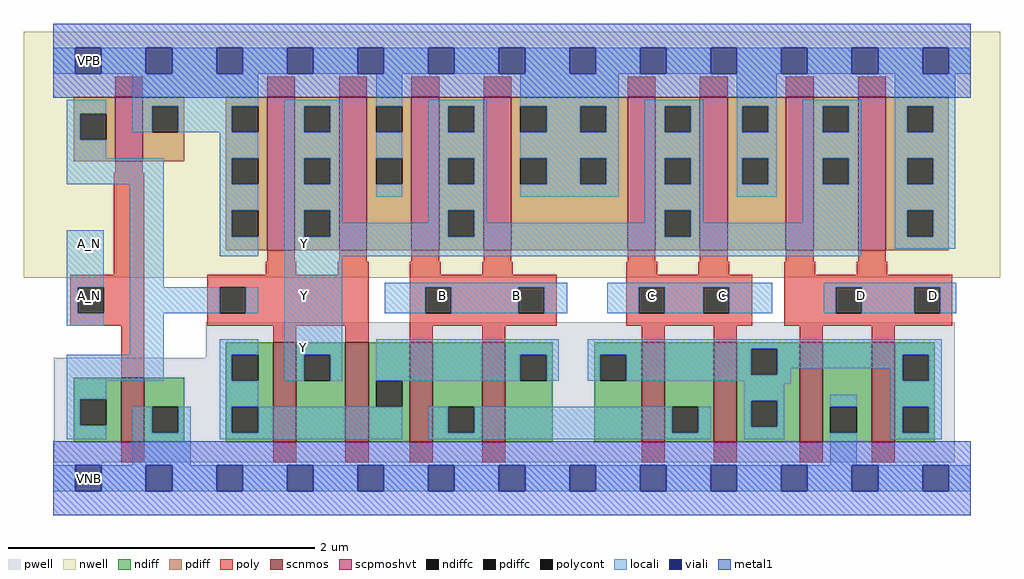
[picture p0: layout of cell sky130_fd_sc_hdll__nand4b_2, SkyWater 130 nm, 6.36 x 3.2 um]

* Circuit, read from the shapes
.subckt sky130_fd_sc_hdll__nand4b_2 A_N B C D VGND VNB VPB VPWR Y
XM1 VGND A_N n1 VNB sky130_fd_pr__nfet_01v8 w=0.42 l=0.15
XM2 Y n1 n2 VNB sky130_fd_pr__nfet_01v8 w=0.65 l=0.15 m=2
XM3 n3 B n2 VNB sky130_fd_pr__nfet_01v8 w=0.65 l=0.15 m=2
XM4 n3 C n4 VNB sky130_fd_pr__nfet_01v8 w=0.65 l=0.15 m=2
XM5 VGND D n4 VNB sky130_fd_pr__nfet_01v8 w=0.65 l=0.15 m=2
XM6 VPWR A_N n1 VPB sky130_fd_pr__pfet_01v8_hvt w=0.42 l=0.18
XM7 Y n1 VPWR VPB sky130_fd_pr__pfet_01v8_hvt w=1 l=0.18 m=2
XM8 Y B VPWR VPB sky130_fd_pr__pfet_01v8_hvt w=1 l=0.18 m=2
XM9 Y C VPWR VPB sky130_fd_pr__pfet_01v8_hvt w=1 l=0.18 m=2
XM10 Y D VPWR VPB sky130_fd_pr__pfet_01v8_hvt w=1 l=0.18 m=2
.ends

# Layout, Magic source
magic
tech sky130A
magscale 1 2
<< nwell >>
rect -38 261 1234 582
<< pwell >>
rect 199 157 1175 203
rect 1 21 1175 157
rect 30 -17 64 21
<< scnmos >>
rect 89 47 119 131
rect 287 47 317 177
rect 381 47 411 177
rect 465 47 495 177
rect 559 47 589 177
rect 767 47 797 177
rect 861 47 891 177
rect 973 47 1003 177
rect 1067 47 1097 177
<< scpmoshvt >>
rect 81 413 117 497
rect 279 297 315 497
rect 373 297 409 497
rect 467 297 503 497
rect 561 297 597 497
rect 749 297 785 497
rect 843 297 879 497
rect 955 297 991 497
rect 1049 297 1085 497
<< ndiff >>
rect 225 161 287 177
rect 27 103 89 131
rect 27 69 35 103
rect 69 69 89 103
rect 27 47 89 69
rect 119 93 171 131
rect 119 59 129 93
rect 163 59 171 93
rect 119 47 171 59
rect 225 127 233 161
rect 267 127 287 161
rect 225 93 287 127
rect 225 59 233 93
rect 267 59 287 93
rect 225 47 287 59
rect 317 161 381 177
rect 317 127 327 161
rect 361 127 381 161
rect 317 47 381 127
rect 411 127 465 177
rect 411 93 421 127
rect 455 93 465 127
rect 411 47 465 93
rect 495 93 559 177
rect 495 59 515 93
rect 549 59 559 93
rect 495 47 559 59
rect 589 161 651 177
rect 589 127 609 161
rect 643 127 651 161
rect 589 47 651 127
rect 705 161 767 177
rect 705 127 713 161
rect 747 127 767 161
rect 705 47 767 127
rect 797 93 861 177
rect 797 59 807 93
rect 841 59 861 93
rect 797 47 861 59
rect 891 169 973 177
rect 891 135 910 169
rect 944 135 973 169
rect 891 101 973 135
rect 891 67 910 101
rect 944 67 973 101
rect 891 47 973 67
rect 1003 93 1067 177
rect 1003 59 1013 93
rect 1047 59 1067 93
rect 1003 47 1067 59
rect 1097 161 1149 177
rect 1097 127 1107 161
rect 1141 127 1149 161
rect 1097 93 1149 127
rect 1097 59 1107 93
rect 1141 59 1149 93
rect 1097 47 1149 59
<< pdiff >>
rect 27 475 81 497
rect 27 441 35 475
rect 69 441 81 475
rect 27 413 81 441
rect 117 485 171 497
rect 117 451 129 485
rect 163 451 171 485
rect 117 413 171 451
rect 225 485 279 497
rect 225 451 233 485
rect 267 451 279 485
rect 225 417 279 451
rect 225 383 233 417
rect 267 383 279 417
rect 225 349 279 383
rect 225 315 233 349
rect 267 315 279 349
rect 225 297 279 315
rect 315 485 373 497
rect 315 451 327 485
rect 361 451 373 485
rect 315 417 373 451
rect 315 383 327 417
rect 361 383 373 417
rect 315 349 373 383
rect 315 315 327 349
rect 361 315 373 349
rect 315 297 373 315
rect 409 485 467 497
rect 409 451 421 485
rect 455 451 467 485
rect 409 417 467 451
rect 409 383 421 417
rect 455 383 467 417
rect 409 297 467 383
rect 503 485 561 497
rect 503 451 515 485
rect 549 451 561 485
rect 503 417 561 451
rect 503 383 515 417
rect 549 383 561 417
rect 503 349 561 383
rect 503 315 515 349
rect 549 315 561 349
rect 503 297 561 315
rect 597 485 749 497
rect 597 451 609 485
rect 643 451 687 485
rect 721 451 749 485
rect 597 417 749 451
rect 597 383 609 417
rect 643 383 687 417
rect 721 383 749 417
rect 597 297 749 383
rect 785 485 843 497
rect 785 451 797 485
rect 831 451 843 485
rect 785 417 843 451
rect 785 383 797 417
rect 831 383 843 417
rect 785 349 843 383
rect 785 315 797 349
rect 831 315 843 349
rect 785 297 843 315
rect 879 485 955 497
rect 879 451 898 485
rect 932 451 955 485
rect 879 417 955 451
rect 879 383 898 417
rect 932 383 955 417
rect 879 297 955 383
rect 991 485 1049 497
rect 991 451 1003 485
rect 1037 451 1049 485
rect 991 417 1049 451
rect 991 383 1003 417
rect 1037 383 1049 417
rect 991 297 1049 383
rect 1085 485 1167 497
rect 1085 451 1113 485
rect 1147 451 1167 485
rect 1085 417 1167 451
rect 1085 383 1113 417
rect 1147 383 1167 417
rect 1085 349 1167 383
rect 1085 315 1113 349
rect 1147 315 1167 349
rect 1085 297 1167 315
<< ndiffc >>
rect 35 69 69 103
rect 129 59 163 93
rect 233 127 267 161
rect 233 59 267 93
rect 327 127 361 161
rect 421 93 455 127
rect 515 59 549 93
rect 609 127 643 161
rect 713 127 747 161
rect 807 59 841 93
rect 910 135 944 169
rect 910 67 944 101
rect 1013 59 1047 93
rect 1107 127 1141 161
rect 1107 59 1141 93
<< pdiffc >>
rect 35 441 69 475
rect 129 451 163 485
rect 233 451 267 485
rect 233 383 267 417
rect 233 315 267 349
rect 327 451 361 485
rect 327 383 361 417
rect 327 315 361 349
rect 421 451 455 485
rect 421 383 455 417
rect 515 451 549 485
rect 515 383 549 417
rect 515 315 549 349
rect 609 451 643 485
rect 687 451 721 485
rect 609 383 643 417
rect 687 383 721 417
rect 797 451 831 485
rect 797 383 831 417
rect 797 315 831 349
rect 898 451 932 485
rect 898 383 932 417
rect 1003 451 1037 485
rect 1003 383 1037 417
rect 1113 451 1147 485
rect 1113 383 1147 417
rect 1113 315 1147 349
<< poly >>
rect 81 497 117 523
rect 279 497 315 523
rect 373 497 409 523
rect 467 497 503 523
rect 561 497 597 523
rect 749 497 785 523
rect 843 497 879 523
rect 955 497 991 523
rect 1049 497 1085 523
rect 81 398 117 413
rect 79 265 119 398
rect 279 282 315 297
rect 373 282 409 297
rect 467 282 503 297
rect 561 282 597 297
rect 749 282 785 297
rect 843 282 879 297
rect 955 282 991 297
rect 1049 282 1085 297
rect 277 265 317 282
rect 371 265 411 282
rect 22 249 119 265
rect 22 215 32 249
rect 66 215 119 249
rect 22 199 119 215
rect 201 249 411 265
rect 201 215 217 249
rect 251 215 411 249
rect 201 199 411 215
rect 89 131 119 199
rect 287 177 317 199
rect 381 177 411 199
rect 465 265 505 282
rect 559 265 599 282
rect 747 265 787 282
rect 841 265 881 282
rect 953 265 993 282
rect 1047 265 1087 282
rect 465 249 656 265
rect 465 215 485 249
rect 519 215 606 249
rect 640 215 656 249
rect 465 199 656 215
rect 747 249 911 265
rect 747 215 763 249
rect 797 215 847 249
rect 881 215 911 249
rect 747 199 911 215
rect 953 249 1172 265
rect 953 215 1020 249
rect 1054 215 1122 249
rect 1156 215 1172 249
rect 953 199 1172 215
rect 465 177 495 199
rect 559 177 589 199
rect 767 177 797 199
rect 861 177 891 199
rect 973 177 1003 199
rect 1067 177 1097 199
rect 89 21 119 47
rect 287 21 317 47
rect 381 21 411 47
rect 465 21 495 47
rect 559 21 589 47
rect 767 21 797 47
rect 861 21 891 47
rect 973 21 1003 47
rect 1067 21 1097 47
<< polycont >>
rect 32 215 66 249
rect 217 215 251 249
rect 485 215 519 249
rect 606 215 640 249
rect 763 215 797 249
rect 847 215 881 249
rect 1020 215 1054 249
rect 1122 215 1156 249
<< locali >>
rect 0 527 29 561
rect 63 527 121 561
rect 155 527 213 561
rect 247 527 305 561
rect 339 527 397 561
rect 431 527 489 561
rect 523 527 581 561
rect 615 527 673 561
rect 707 527 765 561
rect 799 527 857 561
rect 891 527 949 561
rect 983 527 1041 561
rect 1075 527 1133 561
rect 1167 527 1196 561
rect 18 475 69 493
rect 18 441 35 475
rect 103 485 267 527
rect 103 451 129 485
rect 163 451 233 485
rect 18 417 69 441
rect 217 417 267 451
rect 18 383 144 417
rect 18 249 66 323
rect 18 215 32 249
rect 18 199 66 215
rect 100 249 144 383
rect 217 383 233 417
rect 217 349 267 383
rect 217 315 233 349
rect 217 289 267 315
rect 301 485 377 493
rect 301 451 327 485
rect 361 451 377 485
rect 301 417 377 451
rect 301 383 327 417
rect 361 383 377 417
rect 301 349 377 383
rect 421 485 455 527
rect 421 417 455 451
rect 421 367 455 383
rect 489 485 565 493
rect 489 451 515 485
rect 549 451 565 485
rect 489 417 565 451
rect 489 383 515 417
rect 549 383 565 417
rect 301 315 327 349
rect 361 333 377 349
rect 489 349 565 383
rect 609 485 737 527
rect 643 451 687 485
rect 721 451 737 485
rect 609 417 737 451
rect 643 383 687 417
rect 721 383 737 417
rect 609 367 737 383
rect 771 485 847 493
rect 771 451 797 485
rect 831 451 847 485
rect 771 417 847 451
rect 771 383 797 417
rect 831 383 847 417
rect 489 333 515 349
rect 361 315 515 333
rect 549 333 565 349
rect 771 349 847 383
rect 891 485 943 527
rect 891 451 898 485
rect 932 451 943 485
rect 891 417 943 451
rect 891 383 898 417
rect 932 383 943 417
rect 891 367 943 383
rect 977 485 1053 493
rect 977 451 1003 485
rect 1037 451 1053 485
rect 977 417 1053 451
rect 977 383 1003 417
rect 1037 383 1053 417
rect 771 333 797 349
rect 549 315 797 333
rect 831 333 847 349
rect 977 333 1053 383
rect 831 315 1053 333
rect 301 289 1053 315
rect 1097 485 1176 527
rect 1097 451 1113 485
rect 1147 451 1176 485
rect 1097 417 1176 451
rect 1097 383 1113 417
rect 1147 383 1176 417
rect 1097 349 1176 383
rect 1097 315 1113 349
rect 1147 315 1176 349
rect 1097 299 1176 315
rect 100 215 217 249
rect 251 215 267 249
rect 100 161 144 215
rect 18 127 144 161
rect 217 161 267 181
rect 217 127 233 161
rect 301 161 377 289
rect 432 249 670 255
rect 432 215 485 249
rect 519 215 606 249
rect 640 215 670 249
rect 722 249 937 255
rect 722 215 763 249
rect 797 215 847 249
rect 881 215 937 249
rect 1004 249 1177 255
rect 1004 215 1020 249
rect 1054 215 1122 249
rect 1156 215 1177 249
rect 301 127 327 161
rect 361 127 377 161
rect 421 161 659 181
rect 421 127 609 161
rect 643 127 659 161
rect 697 169 1158 181
rect 697 161 910 169
rect 697 127 713 161
rect 747 135 910 161
rect 944 161 1158 169
rect 944 143 1107 161
rect 944 135 961 143
rect 747 127 961 135
rect 18 103 69 127
rect 18 69 35 103
rect 217 93 267 127
rect 901 123 961 127
rect 1091 127 1107 143
rect 1141 127 1158 161
rect 901 101 953 123
rect 18 51 69 69
rect 103 59 129 93
rect 163 59 179 93
rect 103 17 179 59
rect 217 59 233 93
rect 267 59 455 93
rect 217 51 455 59
rect 489 59 515 93
rect 549 59 807 93
rect 841 59 857 93
rect 489 51 857 59
rect 901 67 910 101
rect 944 67 953 101
rect 901 51 953 67
rect 1013 93 1047 109
rect 1013 17 1047 59
rect 1091 93 1158 127
rect 1091 59 1107 93
rect 1141 59 1158 93
rect 1091 51 1158 59
rect 0 -17 29 17
rect 63 -17 121 17
rect 155 -17 213 17
rect 247 -17 305 17
rect 339 -17 397 17
rect 431 -17 489 17
rect 523 -17 581 17
rect 615 -17 673 17
rect 707 -17 765 17
rect 799 -17 857 17
rect 891 -17 949 17
rect 983 -17 1041 17
rect 1075 -17 1133 17
rect 1167 -17 1196 17
<< viali >>
rect 29 527 63 561
rect 121 527 155 561
rect 213 527 247 561
rect 305 527 339 561
rect 397 527 431 561
rect 489 527 523 561
rect 581 527 615 561
rect 673 527 707 561
rect 765 527 799 561
rect 857 527 891 561
rect 949 527 983 561
rect 1041 527 1075 561
rect 1133 527 1167 561
rect 29 -17 63 17
rect 121 -17 155 17
rect 213 -17 247 17
rect 305 -17 339 17
rect 397 -17 431 17
rect 489 -17 523 17
rect 581 -17 615 17
rect 673 -17 707 17
rect 765 -17 799 17
rect 857 -17 891 17
rect 949 -17 983 17
rect 1041 -17 1075 17
rect 1133 -17 1167 17
<< metal1 >>
rect 0 561 1196 592
rect 0 527 29 561
rect 63 527 121 561
rect 155 527 213 561
rect 247 527 305 561
rect 339 527 397 561
rect 431 527 489 561
rect 523 527 581 561
rect 615 527 673 561
rect 707 527 765 561
rect 799 527 857 561
rect 891 527 949 561
rect 983 527 1041 561
rect 1075 527 1133 561
rect 1167 527 1196 561
rect 0 496 1196 527
rect 0 17 1196 48
rect 0 -17 29 17
rect 63 -17 121 17
rect 155 -17 213 17
rect 247 -17 305 17
rect 339 -17 397 17
rect 431 -17 489 17
rect 523 -17 581 17
rect 615 -17 673 17
rect 707 -17 765 17
rect 799 -17 857 17
rect 891 -17 949 17
rect 983 -17 1041 17
rect 1075 -17 1133 17
rect 1167 -17 1196 17
rect 0 -48 1196 -17
<< labels >>
flabel locali s 1036 221 1070 255 0 FreeSans 250 0 0 0 D
port 4 nsew signal input
flabel locali s 1130 221 1164 255 0 FreeSans 250 0 0 0 D
port 4 nsew signal input
flabel locali s 855 221 889 255 0 FreeSans 250 0 0 0 C
port 3 nsew signal input
flabel locali s 763 221 797 255 0 FreeSans 250 0 0 0 C
port 3 nsew signal input
flabel locali s 587 221 621 255 0 FreeSans 250 0 0 0 B
port 2 nsew signal input
flabel locali s 491 221 525 255 0 FreeSans 250 0 0 0 B
port 2 nsew signal input
flabel locali s 309 153 343 187 0 FreeSans 250 0 0 0 Y
port 9 nsew signal output
flabel locali s 310 221 344 255 0 FreeSans 250 0 0 0 Y
port 9 nsew signal output
flabel locali s 310 289 344 323 0 FreeSans 250 0 0 0 Y
port 9 nsew signal output
flabel locali s 30 289 64 323 0 FreeSans 250 0 0 0 A_N
port 1 nsew signal input
flabel locali s 30 221 64 255 0 FreeSans 250 0 0 0 A_N
port 1 nsew signal input
flabel pwell s 30 -17 64 17 0 FreeSans 200 0 0 0 VNB
port 6 nsew ground bidirectional
flabel nwell s 30 527 64 561 0 FreeSans 200 0 0 0 VPB
port 7 nsew power bidirectional
flabel metal1 s 30 -17 64 17 0 FreeSans 200 0 0 0 VGND
port 5 nsew ground bidirectional
flabel metal1 s 30 527 64 561 0 FreeSans 200 0 0 0 VPWR
port 8 nsew power bidirectional
rlabel comment s 0 0 0 0 4 nand4b_2
<< properties >>
string LEFsite unithd
string LEFclass CORE
string FIXED_BBOX 0 0 1196 544
string GDS_FILE $PDKPATH/libs.ref/sky130_fd_sc_hdll/gds/sky130_fd_sc_hdll.gds
string LEFsymmetry X Y R90
string GDS_END 1172384
string GDS_START 1162324
string LEFproperties maskLayoutSubType "abstract" prCellType "standard" originalViewName "layout"
<< end >>
